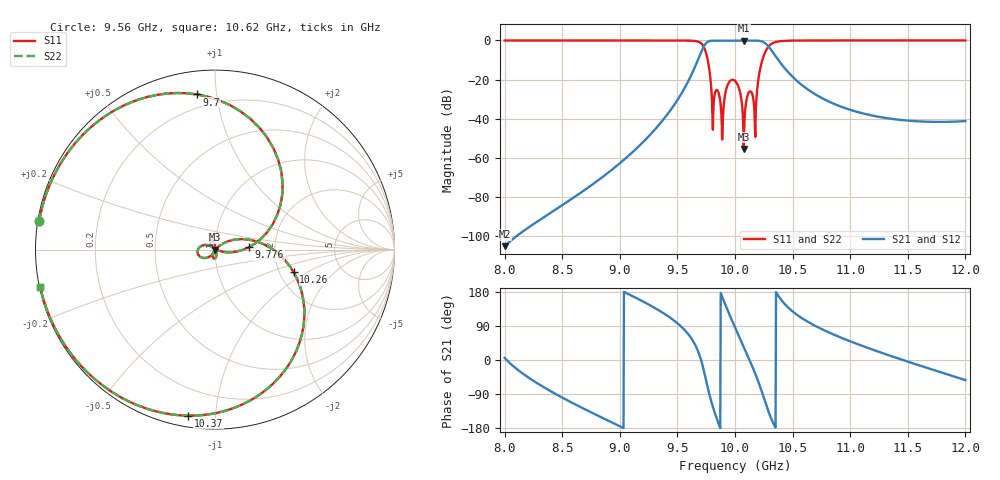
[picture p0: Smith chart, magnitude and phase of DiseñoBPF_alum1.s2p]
! TOUCHSTONE file generated by CST MICROWAVE STUDIO
! Date and time: Sat Oct  4 19:51:33 2025
! Project name: DiseñoBPF_conPerdidas.cst
! Parameters = {L=20; Lc1=18.773; Lc2=21.2156; a=19.05; b=9.525; t=1.5; w1=11.9246; w2=8.70252; w3=8.01241}
! Header version: 2024
! Port assignment regex: !\s*Touchstone port\s*([0-9]+)\s*=\s*(CST MWS port|CST DES external port|CST DES block port)\s*(.+)\s* \(\"(.*)\"\)(\s*mode\s*([0-9]+))?.*
! Touchstone port assignment:
! Touchstone port 1 = CST MWS port 1 ("")
! Touchstone port 2 = CST MWS port 2 ("")
! S-Parameters are not renormalized. Unphysical impedance of 610.34 will be written to the file.
# GHz S MA R 610.34
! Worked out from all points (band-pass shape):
!   1001 points, 8 GHz to 12 GHz, reference per port
!   highest |S21| = -0.10 dB at 10.08 GHz (marker M1); lowest = -105.3 dB at 8 GHz (marker M2)
!   |S21| within 3 dB of the highest: 9.729 GHz to 10.29 GHz (561.8 MHz wide, 5.61 % of centre)
!   lowest |S11| = -55.5 dB at 10.08 GHz (marker M3), VSWR 1.00
!   |S11| at or under -10 dB: 9.763 GHz to 10.24 GHz (474.5 MHz wide, 4.74 % of centre)
!   |S22| runs from -56.7 to 0.0 dB; largest |S21 - S12| = 0.0014
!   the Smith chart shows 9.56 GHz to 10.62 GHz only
!   S11 on the Smith chart (normalised r, x): 9.56 GHz: 0.00, +0.08; 9.7 GHz: 0.12, +0.88; 9.776 GHz: 1.47, +0.04; 10.26 GHz: 2.39, -0.76; 10.37 GHz: 0.06, -0.85; 10.62 GHz: 0.00, -0.11
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8  0.9956 96.3  5.446e-06 5.9  5.446e-06 5.9  0.9956 96.4
8.308  0.9973 24.4  2.586e-05 -65.9  2.597e-05 -65.8  0.9973 24.4
8.668  0.9977 -35.3  0.0001312 -125.6  0.0001313 -125.7  0.9977 -35.3
9.016  0.9976 -86.8  0.0007878 -177.2  0.0007875 -177.2  0.9976 -86.8
9.336  0.9969 -137.9  0.006702 131.6  0.006702 131.6  0.9969 -137.9
9.56  0.9925 170.8  0.05874 80.0  0.05874 80.0  0.9925 170.8
9.7  0.8702 96.6  0.4553 5.3  0.4553 5.3  0.8702 96.6
9.74  0.5732 50.0  0.7893 -41.7  0.7892 -41.7  0.5732 50.1
9.776  0.1896 4.0  0.9597 -88.9  0.9595 -88.9  0.1895 4.1
9.804  0.01194 -9.3  0.9818 -119.8  0.9818 -119.8  0.01189 -9.4
9.848  0.05246 110.2  0.9836 -160.1  0.9836 -160.1  0.05247 110.8
9.872  0.02806 92.6  0.9855 -179.8  0.9855 -179.8  0.0281 93.9
10  0.0925 176.9  0.9841 86.4  0.9841 86.4  0.0925 176.6
10.076  0.001674 -161.2  0.9888 34.4  0.9888 34.4  0.001455 -162.9
10.124  0.0483 -89.3  0.9876 1.3  0.9876 1.3  0.04831 -89.3
10.176  0.003392 10.0  0.9881 -36.2  0.9881 -36.2  0.003265 12.4
10.256  0.4558 -16.0  0.8742 -105.0  0.8742 -105.0  0.4558 -16.0
10.372  0.9371 -99.2  0.3288 171.3  0.3288 171.3  0.9371 -99.2
10.624  0.9959 -167.9  0.05791 102.3  0.0579 102.3  0.9959 -167.9
10.668  0.9967 -175.4  0.04725 94.7  0.04725 94.7  0.9967 -175.4
11.336  0.9984 102.5  0.01008 12.4  0.01008 12.4  0.9984 102.5
12  0.9985 37.1  0.008644 -53.0  0.008644 -53.0  0.9985 37.1
